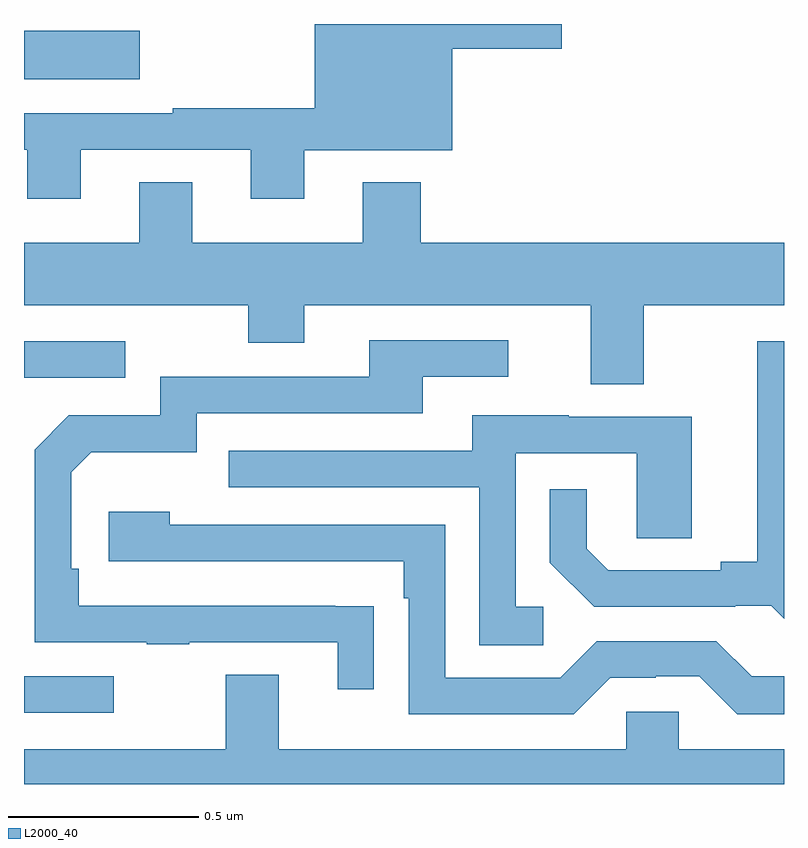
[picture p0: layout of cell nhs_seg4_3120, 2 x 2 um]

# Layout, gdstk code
import gdstk
lib = gdstk.Library(unit=1e-6, precision=1e-09)
def R(c, l, rs):  # rectangles x0, y0, x1, y1
    for r in rs: c.add(gdstk.rectangle(r[:2], r[2:], *l))
def P(c, l, *ps):  # polygons
    for p in ps: c.add(gdstk.Polygon(p, *l))
L2000_40 = (2000, 40)

nhs_seg4_3120 = lib.new_cell('nhs_seg4_3120')
R(nhs_seg4_3120, L2000_40, [(149,789.087,149.236,789.183), (149,789.969,149.266,790.065), (149,790.754,149.305,790.882)])
P(nhs_seg4_3120, L2000_40, [(149.149,790.569),(149.597,790.569),(149.597,790.44),(149.737,790.44),(149.737,790.568),(150.127,790.568),(150.127,790.835),(150.415,790.835),(150.415,790.9),(149.765,790.9),(149.765,790.678),(149.392,790.678),(149.392,790.665),(149,790.665),(149,790.569),(149.009,790.569),(149.009,790.44),(149.149,790.44)],
  [(150.631,790.16),(151,790.16),(151,790.324),(150.044,790.324),(150.044,790.483),(149.891,790.483),(149.891,790.324),(149.443,790.324),(149.443,790.484),(149.303,790.484),(149.303,790.324),(149,790.324),(149,790.16),(149.59,790.16),(149.59,790.061),(149.737,790.061),(149.737,790.16),(150.491,790.16),(150.491,789.952),(150.631,789.952)],
  [(149.921,789.368),(149.819,789.368),(149.819,789.369),(149.144,789.369),(149.144,789.466),(149.124,789.466),(149.124,789.72),(149.177,789.773),(149.454,789.773),(149.454,789.876),(150.049,789.876),(150.049,789.972),(150.274,789.972),(150.274,790.068),(149.909,790.068),(149.909,789.972),(149.358,789.972),(149.358,789.87),(149.118,789.87),(149.028,789.78),(149.028,789.273),(149.323,789.273),(149.323,789.268),(149.435,789.268),(149.435,789.273),(149.825,789.273),(149.825,789.15),(149.921,789.15)],
  [(151,790.065),(150.929,790.065),(150.929,789.485),(150.833,789.485),(150.833,789.462),(150.538,789.462),(150.481,789.519),(150.481,789.676),(150.384,789.676),(150.384,789.482),(150.5,789.366),(150.872,789.366),(150.872,789.369),(150.966,789.369),(151,789.335)],
  [(150.367,789.366),(150.294,789.366),(150.294,789.771),(150.612,789.771),(150.612,789.547),(150.757,789.547),(150.757,789.867),(150.433,789.867),(150.433,789.871),(150.179,789.871),(150.179,789.777),(149.539,789.777),(149.539,789.681),(150.198,789.681),(150.198,789.265),(150.367,789.265)],
  [(151,789.183),(150.915,789.183),(150.822,789.276),(150.507,789.276),(150.411,789.18),(150.108,789.18),(150.108,789.582),(149.384,789.582),(149.384,789.616),(149.223,789.616),(149.223,789.486),(149.999,789.486),(149.999,789.389),(150.012,789.389),(150.012,789.084),(150.447,789.084),(150.543,789.18),(150.662,789.18),(150.662,789.183),(150.777,789.183),(150.877,789.083),(151,789.083)],
  [(151,788.992),(150.723,788.992),(150.723,789.09),(150.585,789.09),(150.585,788.992),(149.671,788.992),(149.671,789.187),(149.531,789.187),(149.531,788.992),(149,788.992),(149,788.9),(151,788.9)])

lib.write_gds('nhs_seg4_3120.gds')
